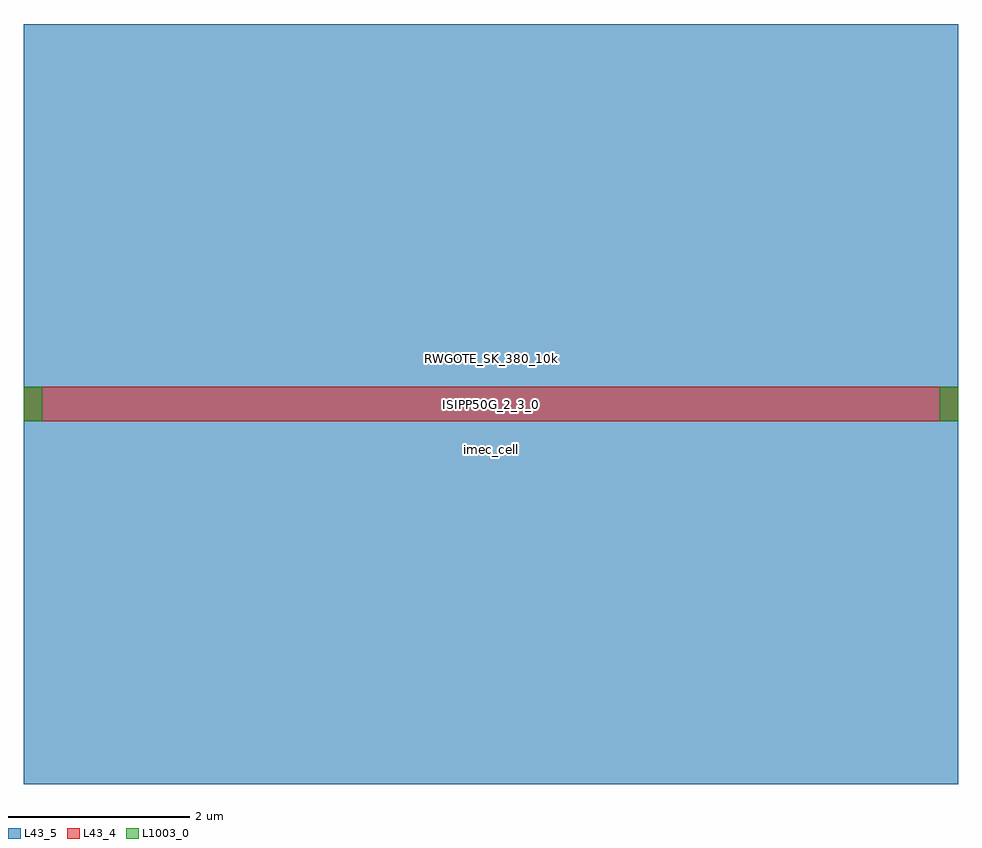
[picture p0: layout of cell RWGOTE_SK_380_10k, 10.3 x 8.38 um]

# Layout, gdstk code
import gdstk
lib = gdstk.Library(unit=1e-6, precision=1e-09)
def R(c, l, rs):  # rectangles x0, y0, x1, y1
    for r in rs: c.add(gdstk.rectangle(r[:2], r[2:], *l))
L43_4 = (43, 4)
L43_5 = (43, 5)
L1003_0 = (1003, 0)

rwgote_sk_380_10k = lib.new_cell('RWGOTE_SK_380_10k')
R(rwgote_sk_380_10k, L43_4, [(-0.15,-0.19,0,0.19), (0,-0.19,10,0.19), (10,-0.19,10.15,0.19)])
R(rwgote_sk_380_10k, L43_5, [(-0.15,-4.19,0,4.19), (0,-4.19,10,4.19), (10,-4.19,10.15,4.19)])
R(rwgote_sk_380_10k, L1003_0, [(-0.15,-0.19,0,0.19), (0,-0.19,0.05,0.19), (9.95,-0.19,10,0.19), (10,-0.19,10.15,0.19)])
rwgote_sk_380_10k.add(gdstk.Label('RWGOTE_SK_380_10k', (5,0.5), layer=1002, texttype=0))
rwgote_sk_380_10k.add(gdstk.Label('ISIPP50G_2_3_0', (5,0), layer=1002, texttype=0))
rwgote_sk_380_10k.add(gdstk.Label('imec_cell', (5,-0.5), layer=1002, texttype=0))

lib.write_gds('RWGOTE_SK_380_10k.gds')
